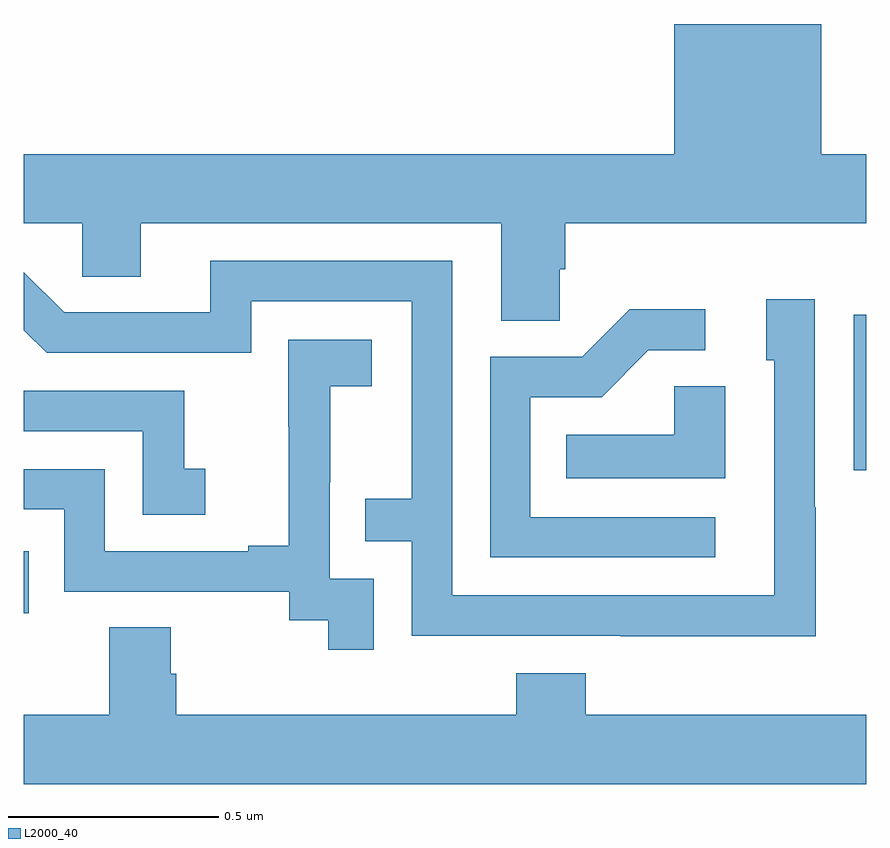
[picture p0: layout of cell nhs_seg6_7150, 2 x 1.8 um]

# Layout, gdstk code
import gdstk
lib = gdstk.Library(unit=1e-6, precision=1e-09)
def R(c, l, rs):  # rectangles x0, y0, x1, y1
    for r in rs: c.add(gdstk.rectangle(r[:2], r[2:], *l))
def P(c, l, *ps):  # polygons
    for p in ps: c.add(gdstk.Polygon(p, *l))
L2000_40 = (2000, 40)

nhs_seg6_7150 = lib.new_cell('nhs_seg6_7150')
R(nhs_seg6_7150, L2000_40, [(204,989.034,204.011,989.181), (205.971,989.373,206,989.742)])
P(nhs_seg6_7150, L2000_40, [(205.272,989.851),(205.286,989.851),(205.286,989.96),(206,989.96),(206,990.124),(205.894,990.124),(205.894,990.433),(205.544,990.433),(205.544,990.124),(204,990.124),(204,989.96),(204.138,989.96),(204.138,989.833),(204.277,989.833),(204.277,989.96),(205.133,989.96),(205.133,989.728),(205.272,989.728)],
  [(205.881,989.285),(205.878,989.285),(205.878,989.779),(205.763,989.779),(205.763,989.634),(205.782,989.634),(205.782,989.076),(205.017,989.076),(205.017,989.871),(204.443,989.871),(204.443,989.748),(204.096,989.748),(204,989.844),(204,989.706),(204.054,989.652),(204.54,989.652),(204.54,989.775),(204.921,989.775),(204.921,989.306),(204.811,989.306),(204.811,989.205),(204.921,989.205),(204.921,988.98),(205.417,988.98),(205.417,988.979),(205.881,988.979)],
  [(205.642,989.262),(205.203,989.262),(205.203,989.547),(205.372,989.547),(205.483,989.658),(205.618,989.658),(205.618,989.756),(205.439,989.756),(205.326,989.643),(205.107,989.643),(205.107,989.166),(205.642,989.166)],
  [(204.831,989.115),(204.726,989.115),(204.726,989.345),(204.728,989.345),(204.728,989.573),(204.826,989.573),(204.826,989.683),(204.628,989.683),(204.628,989.477),(204.629,989.477),(204.629,989.194),(204.533,989.194),(204.533,989.181),(204.192,989.181),(204.192,989.376),(204,989.376),(204,989.28),(204.096,989.28),(204.096,989.085),(204.63,989.085),(204.63,989.017),(204.723,989.017),(204.723,988.947),(204.831,988.947)],
  [(205.666,989.573),(205.545,989.573),(205.545,989.458),(205.288,989.458),(205.288,989.354),(205.666,989.354)],
  [(204.43,989.377),(204.381,989.377),(204.381,989.562),(204,989.562),(204,989.466),(204.282,989.466),(204.282,989.268),(204.43,989.268)],
  [(206,988.792),(205.334,988.792),(205.334,988.891),(205.169,988.891),(205.169,988.792),(204.362,988.792),(204.362,988.89),(204.349,988.89),(204.349,989),(204.202,989),(204.202,988.792),(204,988.792),(204,988.628),(206,988.628)])

lib.write_gds('nhs_seg6_7150.gds')
